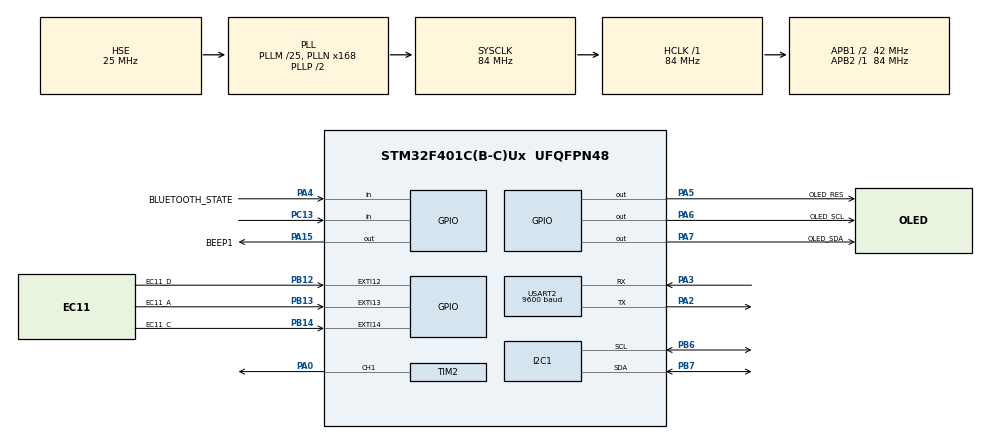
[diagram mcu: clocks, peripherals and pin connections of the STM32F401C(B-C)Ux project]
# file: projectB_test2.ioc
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Mcu.Family=STM32F4
Mcu.Name=STM32F401C(B-C)Ux
Mcu.Package=UFQFPN48
NVIC.EXTI15_10_IRQn=true\:14\:0\:true\:false\:true\:true\:true\:true
NVIC.PriorityGroup=NVIC_PRIORITYGROUP_4
NVIC.TIM4_IRQn=true\:0\:0\:false\:false\:true\:true\:true\:true
NVIC.TIM5_IRQn=true\:0\:0\:false\:false\:true\:true\:true\:true
NVIC.USART2_IRQn=true\:15\:0\:true\:false\:true\:true\:true\:true
PA0-WKUP.Signal=S_TIM2_CH1_ETR
PA13.Mode=Serial_Wire
PA13.Signal=SYS_JTMS-SWDIO
PA14.Mode=Serial_Wire
PA14.Signal=SYS_JTCK-SWCLK
PA15.GPIO_Label=BEEP1
PA15.Signal=GPIO_Output
PA2.Mode=Asynchronous
PA2.Signal=USART2_TX
PA3.Mode=Asynchronous
PA3.Signal=USART2_RX
PA4.GPIO_Label=BLUETOOTH_STATE
PA4.Signal=GPIO_Input
PA5.GPIO_Label=OLED_RES
PA5.Signal=GPIO_Output
PA6.GPIO_Label=OLED_SCL
PA6.Signal=GPIO_Output
PA7.GPIO_Label=OLED_SDA
PA7.Signal=GPIO_Output
PB12.GPIO_Label=EC11_D
PB12.GPIO_ModeDefaultEXTI=GPIO_MODE_IT_FALLING
PB12.GPIO_PuPd=GPIO_PULLDOWN
PB12.Signal=GPXTI12
PB13.GPIO_Label=EC11_A
PB13.GPIO_ModeDefaultEXTI=GPIO_MODE_IT_FALLING
PB13.GPIO_PuPd=GPIO_PULLUP
PB13.Signal=GPXTI13
PB14.GPIO_Label=EC11_C
PB14.GPIO_ModeDefaultEXTI=GPIO_MODE_IT_FALLING
PB14.GPIO_PuPd=GPIO_PULLUP
PB14.Signal=GPXTI14
PB6.Mode=I2C
PB6.Signal=I2C1_SCL
PB7.Mode=I2C
PB7.Signal=I2C1_SDA
PC13-ANTI_TAMP.GPIO_PuPd=GPIO_PULLUP
PC13-ANTI_TAMP.Signal=GPIO_Input
PH0\ -\ OSC_IN.Mode=HSE-External-Oscillator
PH0\ -\ OSC_IN.Signal=RCC_OSC_IN
PH1\ -\ OSC_OUT.Mode=HSE-External-Oscillator
PH1\ -\ OSC_OUT.Signal=RCC_OSC_OUT
ProjectManager.HeapSize=0x200
ProjectManager.StackSize=0x400
ProjectManager.TargetToolchain=MDK-ARM V5.32
RCC.48MHZClocksFreq_Value=42000000
RCC.AHBFreq_Value=84000000
RCC.APB1CLKDivider=RCC_HCLK_DIV2
RCC.APB1Freq_Value=42000000
RCC.APB1TimFreq_Value=84000000
RCC.APB2Freq_Value=84000000
RCC.APB2TimFreq_Value=84000000
RCC.CortexFreq_Value=84000000
RCC.HCLKFreq_Value=84000000
RCC.HSE_VALUE=25000000
RCC.HSI_VALUE=16000000
RCC.LSE_VALUE=32768
RCC.PLLM=25
RCC.PLLN=168
RCC.PLLSourceVirtual=RCC_PLLSOURCE_HSE
RCC.SYSCLKFreq_VALUE=84000000
RCC.SYSCLKSource=RCC_SYSCLKSOURCE_PLLCLK
RCC.VCOOutputFreq_Value=168000000
SH.S_TIM2_CH1_ETR.0=TIM2_CH1,PWM Generation1 CH1
TIM2.AutoReloadPreload=TIM_AUTORELOAD_PRELOAD_ENABLE
TIM2.Channel-PWM\ Generation1\ CH1=TIM_CHANNEL_1
TIM2.Period=1000-1
TIM2.Prescaler=839
TIM2.Pulse-PWM\ Generation1\ CH1=50
TIM4.AutoReloadPreload=TIM_AUTORELOAD_PRELOAD_ENABLE
TIM4.Period=9999
TIM4.Prescaler=8399
TIM5.AutoReloadPreload=TIM_AUTORELOAD_PRELOAD_ENABLE
TIM5.Period=1000-1
TIM5.Prescaler=839
USART2.BaudRate=9600
USART2.VirtualMode=VM_ASYNC
VP_TIM4_VS_ClockSourceINT.Mode=Internal
VP_TIM5_VS_ClockSourceINT.Mode=Internal
board=custom

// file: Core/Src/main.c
/* USER CODE BEGIN Header */
/**
  ******************************************************************************
  * @file           : main.c
  * @brief          : Main program body
  ******************************************************************************
  * @attention
  *
  * Copyright (c) 2023 STMicroelectronics.
  * All rights reserved.
  *
  * This software is licensed under terms that can be found in the LICENSE file
  * in the root directory of this software component.
  * If no LICENSE file comes with this software, it is provided AS-IS.
  *
  ******************************************************************************
  */
/* USER CODE END Header */
#include "main.h"
#include "i2c.h"
#include "tim.h"
#include "usart.h"
#include "gpio.h"

/* USER CODE BEGIN Includes */
#include "oled.h"
#include "bmp.h"
/* USER CODE END Includes */

/* USER CODE BEGIN PD */
#define LM75AD_devAddr 0x90 //LM75AD器件地址
#define LM75AD_TempReg 0x00 //温度寄存�?(只读，包�?2个字节的温度数据)
/* USER CODE END PD */

void SystemClock_Config(void);

/* USER CODE BEGIN 0 */
int Num=0,Cnt=0;
int bo_ol=0,percent=0,percentward=0,page=0,jz1=32,click=0,Menu=0,still=0,_f=0;
uint8_t tmp=0;
int thn=0,tmn=0,tsn=0,ts[3],ck[3],sec[3]={0,0,0},timesum=0,temsign=0,tem=0,bltst=0;
void Alarm_Start()
{
	HAL_TIM_PWM_Stop(&htim2,TIM_CHANNEL_1);
	page =5;
	OLED_Clear();
	//OLED_ShowChinese(jz1,0,0,16,1);
		//	OLED_ShowChinese(jz1+16,0,1,16,1);
			OLED_ShowChinese(jz1+16+16,0,2,16,1);
			OLED_ShowChinese(jz1+16+16+16,0,3,16,1);
			OLED_ShowNum(14,16,thn,2,24,1);
			OLED_ShowString(40,16,":",24,1);
			OLED_ShowNum(56,16,tmn,2,24,1);
			OLED_ShowString(80,16,":",24,1);
			OLED_ShowNum(92,16,tsn,2,24,1);
			OLED_ShowChinese(jz1-16-8,40,29,16,1);
			OLED_ShowChinese(jz1-8,40,30,16,1);
			OLED_ShowChinese(jz1+8,40,31,16,1);
			OLED_ShowChinese(jz1+8+16,40,32,16,1);
		OLED_ShowChinese(jz1+8+16+16,40,34,16,1);
		OLED_ShowChinese(jz1+8+16+32,40,36,16,1);
		OLED_ShowChinese(jz1+8+32+32,40,37,16,1);
		OLED_Refresh();
	while(!click)
	{
	HAL_GPIO_TogglePin(GPIOA,BEEP1_Pin);
	//HAL_GPIO_TogglePin(GPIOA,PIN0);
	HAL_Delay(500/_f);
	}
	click = 0;
	if(HAL_GPIO_ReadPin(GPIOA,BEEP1_Pin) == GPIO_PIN_SET)
		HAL_GPIO_TogglePin(GPIOA,BEEP1_Pin);
	if(HAL_GPIO_ReadPin(GPIOA,GPIO_PIN_0) == GPIO_PIN_SET)
		HAL_GPIO_TogglePin(GPIOA,GPIO_PIN_0);
	HAL_TIM_PWM_Start(&htim2,TIM_CHANNEL_1);
	page = 0;
	OLED_Clear();
	return;
}
void LM75AD_GetTemperature(void)
{
	 /*
    Temp register
    -------------------------------------------------------------
    MSByte                         |LSByte
    7   6   5   4   3   2   1   0  |7   6  5   4   3   2    1   0
    D10 D9 D8  D7  D6  D5  D4  D3  |D2  D1 D0  X   X   X    X   X
    -------------------------------------------------------------
    D10=0温度�?+,D10=1温度�?-
    */
		uint8_t temreg[2];
		HAL_I2C_Mem_Read(&hi2c1,LM75AD_devAddr,LM75AD_TempReg,I2C_MEMADD_SIZE_8BIT,temreg,2,100);
		tem = ((temreg[0] << 8) | temreg[1]);
		if ((temreg[0] & 0x80) != 0)
    {
        tem = ~(tem) + 1;
        temsign =1;
    }
    tem >>= 5;
    tem = tem * 0.125f*10;
	//	tem*=100;
}
/* USER CODE END 0 */

int main(void)
{

  /* MCU Configuration--------------------------------------------------------*/

  /* Reset of all peripherals, Initializes the Flash interface and the Systick. */
  HAL_Init();

  /* Configure the system clock */
  SystemClock_Config();

  /* Initialize all configured peripherals */
  MX_GPIO_Init();
  MX_USART2_UART_Init();
  MX_TIM2_Init();
  MX_TIM5_Init();
  MX_I2C1_Init();
  MX_TIM4_Init();
  /* USER CODE BEGIN 2 */
	OLED_Init();
	OLED_Clear();
	OLED_ShowPicture(0,0,128,64,BMP1,1);
	OLED_Refresh();
	HAL_Delay(5000);
	OLED_Clear();
//	OLED_ShowPicture(0,0,128,64,BMP2,1);
	OLED_Refresh();
//	HAL_Delay(5000);
	OLED_ShowPicture(0,0,7,11,BMP3,1);
	HAL_UART_Transmit(&huart2,"A控制当前时间，B控制闹钟，C秒增加，D分钟增加，E小时增加，F秒数减少，G分钟减少，H小时减少，I结束本轮控制，每次控制以A/B开始，以I结束",190,HAL_MAX_DELAY);
	HAL_UART_Receive_IT(&huart2,&tmp,1);
	HAL_TIM_PWM_Start(&htim2,TIM_CHANNEL_1);
	HAL_TIM_Base_Start_IT(&htim5);
	HAL_TIM_Base_Start_IT(&htim4);
	//OLED_Clear();
	//OLED_Refresh();
  /* USER CODE END 2 */

  /* Infinite loop */
  while (1)
  {

    /* USER CODE BEGIN 3 */
//		OLED_ShowString(1,1,"Num=",16,1);
//		OLED_ShowNum(32,1,Num,5,16,1);
//		OLED_ShowString(1,16,"Cnt=",16,1);
//		OLED_ShowNum(32,16,Cnt,5,16,1);
//		OLED_ShowString(1,32,"Pct=",16,1);
//		OLED_ShowNum(32,32,percent,5,16,1);
//		OLED_ShowString(1,48,"Ptd=",16,1);
//		OLED_ShowNum(32,48,percentward,5,16,1);
//		OLED_Refresh();
		switch(page)
		{
			case 0:
			OLED_ShowChinese(jz1,0,0,16,1);
			OLED_ShowChinese(jz1+16,0,1,16,1);
			OLED_ShowChinese(jz1+16+16,0,2,16,1);
			OLED_ShowChinese(jz1+16+16+16,0,3,16,1);
			OLED_ShowNum(14,16,thn,2,24,1);
			OLED_ShowString(40,16,":",24,1);
			OLED_ShowNum(56,16,tmn,2,24,1);
			OLED_ShowString(80,16,":",24,1);
			OLED_ShowNum(92,16,tsn,2,24,1);
//			OLED_ShowChinese(jz1-16-8,40-8,5,16,1);
//			OLED_ShowChinese(jz1-16-8+16-8,40,6,16,1);
			OLED_ShowChinese(jz1-16+16+16+32,40,4,16,1);
			OLED_ShowNum(jz1+16-8,40,tem/10,2,16,1);
			OLED_ShowString(jz1+16+8,40,".",16,1);
			OLED_ShowNum(jz1+16+16,40,tem%10,1,16,1);
			OLED_ShowChinese(96,48,7,16,0);
			OLED_ShowChinese(96+16,48,8,16,0);
//			OLED_ShowNum(0,0,tem,8,16,1);
			LM75AD_GetTemperature();
			if(temsign)
				OLED_ShowString(jz1-16+16,40,"-",16,1);
			else
				OLED_ShowString(jz1-16+16,40,"+",16,1);
			OLED_Refresh();
			if(click)
			{
			page = 1;
			click = 0;
			OLED_ShowChinese(jz1,0,0,16,1);
			OLED_Clear();
			OLED_Refresh();
			}
			break;
			case 1:
				OLED_ShowChinese(jz1,0,7,16,1);
				OLED_ShowChinese(jz1+48,0,8,16,1);
				switch(Menu)
				{
					case 0:
				OLED_ShowChinese(0,16,9,16,0);
				OLED_ShowChinese(16,16,2,16,0);
				OLED_ShowChinese(32,16,2,16,0);
				OLED_ShowChinese(48,16,3,16,0);
				OLED_ShowChinese(64,16,10,16,0);
				OLED_ShowChinese(80,16,11,16,0);
				OLED_ShowChinese(0,32,12,16,1);
				OLED_ShowChinese(16,32,13,16,1);
				OLED_ShowChinese(32,32,2,16,1);
				OLED_ShowChinese(48,32,3,16,1);
				OLED_ShowChinese(64,32,10,16,1);
				OLED_ShowChinese(80,32,11,16,1);
				OLED_ShowChinese(0,48,17,16,1);
				OLED_ShowChinese(16,48,18,16,1);
				OLED_ShowChinese(96+0,48,14,16,1);
				OLED_ShowChinese(96+16,48,15,16,1);
				OLED_Refresh();
					break;
					case 1:
				OLED_ShowChinese(0,16,9,16,1);
				OLED_ShowChinese(16,16,2,16,1);
				OLED_ShowChinese(32,16,2,16,1);
				OLED_ShowChinese(48,16,3,16,1);
				OLED_ShowChinese(64,16,10,16,1);
				OLED_ShowChinese(80,16,11,16,1);
				OLED_ShowChinese(0,32,12,16,0);
				OLED_ShowChinese(16,32,13,16,0);
				OLED_ShowChinese(32,32,2,16,0);
				OLED_ShowChinese(48,32,3,16,0);
				OLED_ShowChinese(64,32,10,16,0);
				OLED_ShowChinese(80,32,11,16,0);
				OLED_ShowChinese(0,48,17,16,1);
				OLED_ShowChinese(16,48,18,16,1);
				OLED_ShowChinese(96+0,48,14,16,1);
				OLED_ShowChinese(96+16,48,15,16,1);
				OLED_Refresh();
					break;
					case 2:
				OLED_ShowChinese(0,16,9,16,1);
				OLED_ShowChinese(16,16,2,16,1);
				OLED_ShowChinese(32,16,2,16,1);
				OLED_ShowChinese(48,16,3,16,1);
				OLED_ShowChinese(64,16,10,16,1);
				OLED_ShowChinese(80,16,11,16,1);
				OLED_ShowChinese(0,32,12,16,1);
				OLED_ShowChinese(16,32,13,16,1);
				OLED_ShowChinese(32,32,2,16,1);
				OLED_ShowChinese(48,32,3,16,1);
				OLED_ShowChinese(64,32,10,16,1);
				OLED_ShowChinese(80,32,11,16,1);
				OLED_ShowChinese(0,48,17,16,0);
				OLED_ShowChinese(16,48,18,16,0);
				OLED_ShowChinese(96+0,48,14,16,1);
				OLED_ShowChinese(96+16,48,15,16,1);
				OLED_Refresh();
					break;
					case 3:
				OLED_ShowChinese(0,16,9,16,1);
				OLED_ShowChinese(16,16,2,16,1);
				OLED_ShowChinese(32,16,2,16,1);
				OLED_ShowChinese(48,16,3,16,1);
				OLED_ShowChinese(64,16,10,16,1);
				OLED_ShowChinese(80,16,11,16,1);
				OLED_ShowChinese(0,32,12,16,1);
				OLED_ShowChinese(16,32,13,16,1);
				OLED_ShowChinese(32,32,2,16,1);
				OLED_ShowChinese(48,32,3,16,1);
				OLED_ShowChinese(64,32,10,16,1);
				OLED_ShowChinese(80,32,11,16,1);
				OLED_ShowChinese(0,48,17,16,1);
				OLED_ShowChinese(16,48,18,16,1);
				OLED_ShowChinese(96+0,48,14,16,0);
				OLED_ShowChinese(96+16,48,15,16,0);
				OLED_Refresh();
					break;
				}
			if(click)
		{
			click = 0;
			switch(Menu)
			{
				case 0:
					page = 2;
					ts[0] = thn;ts[1] = tmn;ts[2] = tsn;
					break;
				case 1:
					page = 3;
					ts[0] = ck[0];ts[1] = ck[1];ts[2] = ck[2];
					break;
				case 2:
					page = 4;
					break;
				case 3:
					page = 0;
			}
			Menu = 0;
			OLED_Clear();
			OLED_Refresh();
		}
			break;
			case 2://zoushisheding
				OLED_ShowChinese(16,0,9,16,1);
				OLED_ShowChinese(16+16,0,2,16,1);
				OLED_ShowChinese(16+32,0,2,16,1);
				OLED_ShowChinese(16+48,0,3,16,1);
				OLED_ShowChinese(16+64,0,10,16,1);
				OLED_ShowChinese(16+80,0,11,16,1);
				if(click && (Menu != 3))
				{
						still = !still;
						click = 0;
				}
				switch(Menu)
				{
					case 0:
					OLED_ShowNum(14,16,ts[0],2,24,0);
					OLED_ShowString(40,16,":",24,1);
					OLED_ShowNum(56,16,ts[1],2,24,1);
					OLED_ShowString(80,16,":",24,1);
					OLED_ShowNum(92,16,ts[2],2,24,1);
					OLED_ShowChinese(0,48,16,16,1);
					OLED_ShowChinese(16,48,11,16,1);
					OLED_Refresh();
					break;
					case 1:
					OLED_ShowNum(14,16,ts[0],2,24,1);
					OLED_ShowString(40,16,":",24,1);
					OLED_ShowNum(56,16,ts[1],2,24,0);
					OLED_ShowString(80,16,":",24,1);
					OLED_ShowNum(92,16,ts[2],2,24,1);
					OLED_ShowChinese(0,48,16,16,1);
					OLED_ShowChinese(16,48,11,16,1);
					OLED_Refresh();
					break;
					case 2:
					OLED_ShowNum(14,16,ts[0],2,24,1);
					OLED_ShowString(40,16,":",24,1);
					OLED_ShowNum(56,16,ts[1],2,24,1);
					OLED_ShowString(80,16,":",24,1);
					OLED_ShowNum(92,16,ts[2],2,24,0);
					OLED_ShowChinese(0,48,16,16,1);
					OLED_ShowChinese(16,48,11,16,1);
					OLED_Refresh();
					break;
					case 3:
					OLED_ShowNum(14,16,ts[0],2,24,1);
					OLED_ShowString(40,16,":",24,1);
					OLED_ShowNum(56,16,ts[1],2,24,1);
					OLED_ShowString(80,16,":",24,1);
					OLED_ShowNum(92,16,ts[2],2,24,1);
					OLED_ShowChinese(0,48,16,16,0);
					OLED_ShowChinese(16,48,11,16,0);
					OLED_Refresh();
					if(click)
					{
						click = 0;
						thn=ts[0];tmn=ts[1];tsn=ts[2];
						page = 1;
						Menu =0;
						OLED_Clear();
						OLED_Refresh();
					}
					break;
				}
			break;
			case 3://闹钟设定
				OLED_ShowChinese(16,0,12,16,1);
				OLED_ShowChinese(16+16,0,13,16,1);
				OLED_ShowChinese(16+32,0,2,16,1);
				OLED_ShowChinese(16+48,0,3,16,1);
				OLED_ShowChinese(16+64,0,10,16,1);
				OLED_ShowChinese(16+80,0,11,16,1);
				OLED_Refresh();
				if(click && (Menu != 4))
				{
						still = !still;
						click = 0;
				}
				switch(Menu)
				{
					case 0:
					OLED_ShowNum(14,16,ts[0],2,24,0);
					OLED_ShowString(40,16,":",24,1);
					OLED_ShowNum(56,16,ts[1],2,24,1);
					OLED_ShowString(80,16,":",24,1);
					OLED_ShowNum(92,16,ts[2],2,24,1);
					OLED_ShowChinese(96+0,48,16,16,1);
					OLED_ShowChinese(96+16,48,11,16,1);
					if(_f)
					{
					OLED_ShowChinese(0,48,19,16,1);
					OLED_ShowChinese(16,48,20,16,1);
					OLED_ShowNum(32,48,_f,2,16,1);
					OLED_ShowString(48,48,"Hz",16,1);
					}
					else
					{
					OLED_ShowChinese(0,48,12,16,1);
					OLED_ShowChinese(16,48,13,16,1);
					OLED_ShowChinese(32,48,21,16,1);
					OLED_ShowChinese(48,48,22,16,1);
					}
					OLED_Refresh();
					break;
					case 1:
					OLED_ShowNum(14,16,ts[0],2,24,1);
					OLED_ShowString(40,16,":",24,1);
					OLED_ShowNum(56,16,ts[1],2,24,0);
					OLED_ShowString(80,16,":",24,1);
					OLED_ShowNum(92,16,ts[2],2,24,1);
					OLED_ShowChinese(96+0,48,16,16,1);
					OLED_ShowChinese(96+16,48,11,16,1);
					if(_f)
					{
					OLED_ShowChinese(0,48,19,16,1);
					OLED_ShowChinese(16,48,20,16,1);
					OLED_ShowNum(32,48,_f,2,16,1);
					OLED_ShowString(48,48,"Hz",16,1);
					}
					else
					{
					OLED_ShowChinese(0,48,12,16,1);
					OLED_ShowChinese(16,48,13,16,1);
					OLED_ShowChinese(32,48,21,16,1);
					OLED_ShowChinese(48,48,22,16,1);
					}
					OLED_Refresh();
					break;
					case 2:
					OLED_ShowNum(14,16,ts[0],2,24,1);
					OLED_ShowString(40,16,":",24,1);
					OLED_ShowNum(56,16,ts[1],2,24,1);
					OLED_ShowString(80,16,":",24,1);
					OLED_ShowNum(92,16,ts[2],2,24,0);
					OLED_ShowChinese(96+0,48,16,16,1);
					OLED_ShowChinese(96+16,48,11,16,1);
					if(_f)
					{
					OLED_ShowChinese(0,48,19,16,1);
					OLED_ShowChinese(16,48,20,16,1);
					OLED_ShowNum(32,48,_f,2,16,1);
					OLED_ShowString(48,48,"Hz",16,1);
					}
					else
					{
					OLED_ShowChinese(0,48,12,16,1);
					OLED_ShowChinese(16,48,13,16,1);
					OLED_ShowChinese(32,48,21,16,1);
					OLED_ShowChinese(48,48,22,16,1);
					}
					OLED_Refresh();
					break;
					case 3:
					OLED_ShowNum(14,16,ts[0],2,24,1);
					OLED_ShowString(40,16,":",24,1);
					OLED_ShowNum(56,16,ts[1],2,24,1);
					OLED_ShowString(80,16,":",24,1);
					OLED_ShowNum(92,16,ts[2],2,24,1);
					OLED_ShowChinese(96+0,48,16,16,1);
					OLED_ShowChinese(96+16,48,11,16,1);
					if(_f)
					{
					OLED_ShowChinese(0,48,19,16,0);
					OLED_ShowChinese(16,48,20,16,0);
					OLED_ShowNum(32,48,_f,2,16,0);
					OLED_ShowString(48,48,"Hz",16,0);
					}
					else
					{
					OLED_ShowChinese(0,48,12,16,0);
					OLED_ShowChinese(16,48,13,16,0);
					OLED_ShowChinese(32,48,21,16,0);
					OLED_ShowChinese(48,48,22,16,0);
					}
					OLED_Refresh();
					break;
					case 4:
					OLED_ShowNum(14,16,ts[0],2,24,1);
					OLED_ShowString(40,16,":",24,1);
					OLED_ShowNum(56,16,ts[1],2,24,1);
					OLED_ShowString(80,16,":",24,1);
					OLED_ShowNum(92,16,ts[2],2,24,1);
					OLED_ShowChinese(96+0,48,16,16,0);
					OLED_ShowChinese(96+16,48,11,16,0);
					if(_f)
					{
					OLED_ShowChinese(0,48,19,16,1);
					OLED_ShowChinese(16,48,20,16,1);
					OLED_ShowNum(32,48,_f,2,16,1);
					OLED_ShowString(48,48,"Hz",16,1);
					}
					else
					{
					OLED_ShowChinese(0,48,12,16,1);
					OLED_ShowChinese(16,48,13,16,1);
					OLED_ShowChinese(32,48,21,16,1);
					OLED_ShowChinese(48,48,22,16,1);
					}
					OLED_Refresh();
					if(click)
					{
						click = 0;
						ck[0]=ts[0];ck[1]=ts[1];ck[2]=ts[2];
						page = 1;
						Menu =0;
						OLED_Clear();
						OLED_Refresh();
					}
					break;
				}
			break;
			case 4://秒表界面
				OLED_ShowChinese(jz1,0,17,16,1);
				OLED_ShowChinese(jz1+48,0,18,16,1);
				OLED_ShowNum(14,16,sec[0],2,24,1);
				OLED_ShowString(40,16,":",24,1);
				OLED_ShowNum(56,16,sec[1],2,24,1);
				OLED_ShowString(80,16,":",24,1);
				OLED_ShowNum(92,16,sec[2],2,24,1);
				switch(Menu)
				{
					case 0://�?始，暂停
					if(!timesum)
					{
					OLED_ShowChinese(0,48,23,16,0);
					OLED_ShowChinese(16,48,24,16,0);
					OLED_ShowChinese(48,48,27,16,1);
					OLED_ShowChinese(48+16,48,28,16,1);
					OLED_ShowChinese(96+0,48,14,16,1);
					OLED_ShowChinese(96+16,48,15,16,1);
					}
					else{
					OLED_ShowChinese(0,48,25,16,0);
					OLED_ShowChinese(16,48,26,16,0);
					OLED_ShowChinese(48,48,27,16,1);
					OLED_ShowChinese(48+16,48,28,16,1);
					OLED_ShowChinese(96+0,48,14,16,1);
					OLED_ShowChinese(96+16,48,15,16,1);
					}
					if(click)
					{
						click = 0;
						timesum = !timesum;
					}
					break;
					case 1://复位
					if(!timesum)
					{
					OLED_ShowChinese(0,48,23,16,1);
					OLED_ShowChinese(16,48,24,16,1);
					OLED_ShowChinese(48,48,27,16,0);
					OLED_ShowChinese(48+16,48,28,16,0);
					OLED_ShowChinese(96+0,48,14,16,1);
					OLED_ShowChinese(96+16,48,15,16,1);
					}
					else{
					OLED_ShowChinese(0,48,25,16,1);
					OLED_ShowChinese(16,48,26,16,1);
					OLED_ShowChinese(48,48,27,16,0);
					OLED_ShowChinese(48+16,48,28,16,0);
					OLED_ShowChinese(96+0,48,14,16,1);
					OLED_ShowChinese(96+16,48,15,16,1);
					}
					if(click)
					{
						click = 0;
						timesum = 0;
						sec[0] = 0;
						sec[1] = 0;
						sec[2] = 0;
					}
					break;
					case 2://返回
					if(!timesum)
					{
					OLED_ShowChinese(0,48,23,16,1);
					OLED_ShowChinese(16,48,24,16,1);
					OLED_ShowChinese(48,48,27,16,1);
					OLED_ShowChinese(48+16,48,28,16,1);
					OLED_ShowChinese(96+0,48,14,16,0);
					OLED_ShowChinese(96+16,48,15,16,0);
					}
					else{
					OLED_ShowChinese(0,48,25,16,1);
					OLED_ShowChinese(16,48,26,16,1);
					OLED_ShowChinese(48,48,27,16,1);
					OLED_ShowChinese(48+16,48,28,16,1);
					OLED_ShowChinese(96+0,48,14,16,0);
					OLED_ShowChinese(96+16,48,15,16,0);
					}
					if(click)
					{
						click = 0;
						timesum = 0;
						page = 1;
						Menu = 0;
					}
					break;
				}
			OLED_Refresh();
			break;
		}
		if(bo_ol)
		{
			HAL_Delay(35);
			bo_ol=0;
		}
		if(_f && (ck[0] == thn) && (ck[1] == tmn) && (ck[2] == tsn))
			Alarm_Start();
  }
  /* USER CODE END 3 */
}

void SystemClock_Config(void)
{
  RCC_OscInitTypeDef RCC_OscInitStruct = {0};
  RCC_ClkInitTypeDef RCC_ClkInitStruct = {0};

  /** Configure the main internal regulator output voltage
  */
  __HAL_RCC_PWR_CLK_ENABLE();
  __HAL_PWR_VOLTAGESCALING_CONFIG(PWR_REGULATOR_VOLTAGE_SCALE2);

  /** Initializes the RCC Oscillators according to the specified parameters
  * in the RCC_OscInitTypeDef structure.
  */
  RCC_OscInitStruct.OscillatorType = RCC_OSCILLATORTYPE_HSE;
  RCC_OscInitStruct.HSEState = RCC_HSE_ON;
  RCC_OscInitStruct.PLL.PLLState = RCC_PLL_ON;
  RCC_OscInitStruct.PLL.PLLSource = RCC_PLLSOURCE_HSE;
  RCC_OscInitStruct.PLL.PLLM = 25;
  RCC_OscInitStruct.PLL.PLLN = 168;
  RCC_OscInitStruct.PLL.PLLP = RCC_PLLP_DIV2;
  RCC_OscInitStruct.PLL.PLLQ = 4;
  if (HAL_RCC_OscConfig(&RCC_OscInitStruct) != HAL_OK)
  {
    Error_Handler();
  }

  /** Initializes the CPU, AHB and APB buses clocks
  */
  RCC_ClkInitStruct.ClockType = RCC_CLOCKTYPE_HCLK|RCC_CLOCKTYPE_SYSCLK
                              |RCC_CLOCKTYPE_PCLK1|RCC_CLOCKTYPE_PCLK2;
  RCC_ClkInitStruct.SYSCLKSource = RCC_SYSCLKSOURCE_PLLCLK;
  RCC_ClkInitStruct.AHBCLKDivider = RCC_SYSCLK_DIV1;
  RCC_ClkInitStruct.APB1CLKDivider = RCC_HCLK_DIV2;
  RCC_ClkInitStruct.APB2CLKDivider = RCC_HCLK_DIV1;

  if (HAL_RCC_ClockConfig(&RCC_ClkInitStruct, FLASH_LATENCY_2) != HAL_OK)
  {
    Error_Handler();
  }
}

/* USER CODE BEGIN 4 */
void HAL_GPIO_EXTI_Callback(uint16_t GPIO_Pin)
{
	if(GPIO_Pin == EC11_D_Pin && !bo_ol)
	{
//		Cnt++;
		bo_ol=1;
		click=1;
	}
	if(GPIO_Pin == EC11_A_Pin && !bo_ol)
	{
		if(HAL_GPIO_ReadPin(GPIOB,EC11_A_Pin) == RESET && HAL_GPIO_ReadPin(GPIOB,EC11_C_Pin) == SET )
			if(!still)
				Menu++;
			else
			{
				if(Menu < 3 &&(page == 2 || page == 3))
				ts[Menu]++;
				else
					if(Menu == 3 && page == 3)
						_f++;
			}
			ts[0] = (ts[0]>=24) ? 0:ts[0];
			ts[1] = (ts[1]>=60) ? 0:ts[1];
			ts[2] = (ts[2]>=60) ? 0:ts[2];
		if((Menu >=4) && (page == 1 || page == 2))
			Menu = 0;
		if(page == 3 && Menu >=5)
			Menu = 0;
		if(Menu == 3 && page == 3 && _f > 10)
			_f=0;
		if(Menu >= 3 && page == 4)
			Menu = 0;
		bo_ol =1;
	}
	if(GPIO_Pin == EC11_C_Pin && !bo_ol)
	{
		if(HAL_GPIO_ReadPin(GPIOB,EC11_C_Pin) == RESET && HAL_GPIO_ReadPin(GPIOB,EC11_A_Pin) == SET )
			if(!still)
				Menu--;
			else
				{
				if(Menu < 3 &&(page == 2 || page == 3))
				ts[Menu]--;
				else
					if(Menu == 3 && page == 3)
						_f--;
			}
			ts[0] = (ts[0]<0) ? 23:ts[0];
			ts[1] = (ts[1]<0) ? 59:ts[1];
			ts[2] = (ts[2]<0) ? 59:ts[2];
		if(Menu <0 && (page == 1 || page == 2))
			Menu = 3;
		if(page == 3 && Menu < 0)
			Menu = 4;
		if(Menu == 3 && page == 3 && _f < 0)
			_f=10;
		if(page ==4 && Menu < 0)
			Menu = 2;
		bo_ol =1;
	}
//	if(GPIO_Pin == BLUETOOTH_STATE_Pin)
//	{
//		HAL_UART_Transmit(&huart2,"OK",8,HAL_MAX_DELAY);
//		OLED_ShowPicture(0,0,7,11,BMP3,1);
//		OLED_Refresh();
//	}
}
void HAL_UART_RxCpltCallback(UART_HandleTypeDef *huart)
{
	if(huart->Instance == USART2)
	{
		if(tmp =='A' && bltst == 0)
			bltst = 1;
		if(tmp == 'B' && bltst == 0)
		{
			bltst = 2;
			page = 3;
			OLED_Clear();
			for(int i = 0;i<=2;i++)
			ts[i] = ck[i];
		}
		if(tmp == 'I' && bltst != 0)
		{
			bltst = 0;
			ts[0]=0;ts[1]=0;ts[2]=0;
			page = 0;
			OLED_Clear();
		}
		switch(bltst)
		{
			case 0:
				break;
			case 1:
				if(tmp == 'C')
					tsn++;
				if(tmp == 'D')
					tmn++;
				if(tmp == 'E')
					thn++;
				if(tmp =='F')
					tsn--;
				if(tmp =='G')
					tmn--;
				if(tmp =='H')
					thn--;
				break;
			case 2:
				if(tmp == 'C')
				{
					ck[2]++;
					ts[2]++;
				}
				if(tmp == 'D')
					{
					ck[1]++;
					ts[1]++;
				}
				if(tmp == 'E')
					{
					ck[0]++;
					ts[0]++;
				}
					if(tmp == 'F')
				{
					ck[2]--;
					ts[2]--;
				}
				if(tmp == 'G')
					{
					ck[1]--;
					ts[1]--;
				}
				if(tmp == 'H')
					{
					ck[0]--;
					ts[0]--;
				}
		}
		ts[0] = (ts[0]<0) ? 23:ts[0];
			ts[1] = (ts[1]<0) ? 59:ts[1];
			ts[2] = (ts[2]<0) ? 59:ts[2];
		ck[0] = (ck[0]<0) ? 23:ck[0];
			ck[1] = (ck[1]<0) ? 59:ck[1];
			ck[2] = (ck[2]<0) ? 59:ck[2];
		thn = (ts<0) ? 23:thn;
		tmn = (tmn<0) ? 59:tmn;
		tsn = (tsn<0) ? 59:tsn;
		tmp=0;
		HAL_UART_Receive_IT(&huart2,&tmp,1);
	}
}
void HAL_TIM_PeriodElapsedCallback(TIM_HandleTypeDef *htim)
{
	if (htim->Instance == htim5.Instance)
	{
		//HAL_UART_Transmit(&huart2,"OK",4,HAL_MAX_DELAY);
		__HAL_TIM_SET_COMPARE(&htim2, TIM_CHANNEL_1,percent);
		percentward = (percent<1000)? percentward : (!percentward);
		percentward = (percent>0)? percentward : (!percentward);
		if(!percentward)
		percent-=20;
		else
		percent+=20;
	}
	if (htim->Instance == htim4.Instance)
	{
		tsn++;
		LM75AD_GetTemperature();
		if(tsn ==60)
		{
			tsn =0;
			tmn++;
		}
		if(tmn ==60)
		{
			tmn =0;
			thn++;
		}
		if(thn ==24)
		{
			thn =0;
		}
		if(timesum)
		{
			sec[2]++;
		LM75AD_GetTemperature();
		if(sec[2] ==60)
		{
			sec[2] =0;
			sec[1]++;
		}
		if(sec[1] ==60)
		{
			sec[1] =0;
			sec[0]++;
		}
		}
	}
}
/* USER CODE END 4 */

void Error_Handler(void)
{
  __disable_irq();
  while (1)
  {
  }
}
